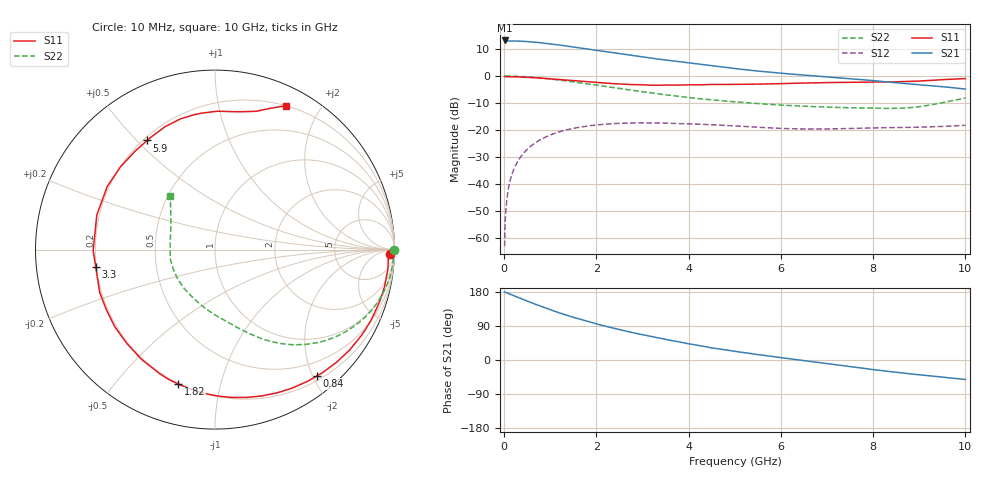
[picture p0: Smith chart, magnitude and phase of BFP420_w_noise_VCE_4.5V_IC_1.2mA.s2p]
! Infineon Technologies  Discrete & RF Semiconductors
! BFP420
! VCE =  4.5 V,  IC =  1.2 mA
! Common Emitter S-Parameters:  Jan 2016
# GHz  S  MA  R  50
!  f  S11  S21  S12  S22
! GHz  MAG  ANG  MAG  ANG  MAG  ANG  MAG  ANG
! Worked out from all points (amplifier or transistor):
!   233 points, 10 MHz to 10 GHz, reference 50 ohm
!   highest |S21| = 13.2 dB at 10 MHz (marker M1)
!   |S21| within 3 dB of that: start of sweep to 1.735 GHz
!   unconditionally stable (mu >= 1): 4.257 GHz to end of sweep
!   at 200 MHz: K = 0.05, MSG = 24.0 dB, |S12| = -35.0 dB
!   at 1.74 GHz: K = 0.28, MSG = 14.4 dB, |S12| = -18.7 dB
!   at 10 GHz: K = 1.31, MAG = 3.4 dB, |S12| = -18.3 dB
!   lowest NFmin = 0.53 dB at 900 MHz
!   S11 on the Smith chart (normalised r, x): 10 MHz: 44, -44; 840 MHz: 0.27, -2.06; 1.82 GHz: 0.20, -0.75; 3.3 GHz: 0.20, -0.07; 5.9 GHz: 0.21, +0.54; 10 GHz: 0.20, +1.59
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0.01  0.9775 -1.3  4.545 179.2  0.0007 33.4  0.9958 0.0
0.02  0.9696 -1.3  4.396 179.3  0.0019 69.3  0.9949 -0.6
0.055  0.967 -3.4  4.423 177.3  0.0048 80.5  0.9952 -1.7
0.1  0.9697 -6.2  4.449 175.1  0.0089 82.7  0.9949 -3.2
0.17  0.9666 -10.4  4.445 171.7  0.0152 81.7  0.992 -5.4
0.45  0.9497 -27.7  4.362 158.0  0.0395 73.1  0.9691 -14.1
0.64  0.9292 -39.3  4.243 148.8  0.0549 66.4  0.9421 -19.8
0.84  0.904 -51.2  4.076 139.7  0.0697 59.7  0.9078 -25.6
1.2  0.8561 -72.2  3.735 124.2  0.0924 48.3  0.8367 -35.0
1.4  0.8296 -83.3  3.538 116.3  0.1025 42.4  0.7953 -39.7
1.68  0.7928 -98.1  3.272 106.1  0.114 34.7  0.7377 -45.6
1.82  0.7766 -105.2  3.134 101.3  0.1185 31.2  0.7102 -48.2
2.2  0.7357 -123.8  2.814 89.0  0.128 22.3  0.6387 -55.0
2.6  0.7045 -142.6  2.512 77.2  0.1335 13.7  0.5698 -61.5
3.3  0.6715 -171.6  2.074 59.5  0.1338 1.8  0.4718 -71.4
3.4  0.6735 -175.6  2.024 56.9  0.1336 0.3  0.4594 -73.0
4  0.6861 163.6  1.751 42.7  0.13 -7.2  0.3978 -82.3
5.1  0.6996 136.9  1.341 21.2  0.1172 -16.3  0.3261 -101.3
5.9  0.716 121.9  1.144 7.9  0.1074 -18.4  0.2915 -116.3
6.8  0.7461 107.7  0.99 -6.4  0.1039 -17.4  0.2684 -135.4
8.4  0.7754 82.3  0.761 -31.1  0.1101 -18.2  0.2504 178.8
10  0.8931 63.7  0.571 -51.5  0.1217 -18.9  0.3884 129.9
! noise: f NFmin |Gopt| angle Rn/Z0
0.9  0.53  0.62  33  0.31
1.8  1.1  0.4  77  0.24
2.4  1.23  0.41  100  0.2
3  1.51  0.41  132  0.14
4  1.8  0.44  -175  0.09
5  2.23  0.45  -132  0.38
6  3.18  0.57  -116  0.44
